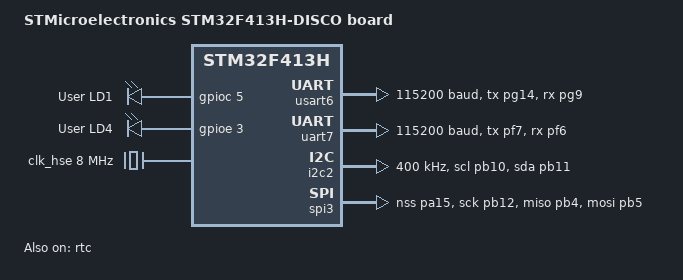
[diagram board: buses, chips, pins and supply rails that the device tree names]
/*
 * Copyright (c) 2024 STMicroelectronics
 *
 * SPDX-License-Identifier: Apache-2.0
 */

/dts-v1/;
#include <st/f4/stm32f413Xh.dtsi>
#include <st/f4/stm32f413z(g-h)tx-pinctrl.dtsi>
#include "arduino_r3_connector.dtsi"
#include <zephyr/dt-bindings/input/input-event-codes.h>

/ {
	model = "STMicroelectronics STM32F413H-DISCO board";
	compatible = "st,stm32f413h-disco";

	chosen {
		zephyr,console = &usart6;
		zephyr,shell-uart = &usart6;
		zephyr,sram = &sram0;
		zephyr,flash = &flash0;
	};

	leds {
		compatible = "gpio-leds";

		green_led_1: led_1 {
			gpios = <&gpioc 5 GPIO_ACTIVE_HIGH>;
			label = "User LD1";
		};

		red_led_2: led_2 {
			gpios = <&gpioe 3 GPIO_ACTIVE_HIGH>;
			label = "User LD4";
		};
	};

	aliases {
		led0 = &green_led_1;
		led1 = &red_led_2;

	};
};

&clk_lsi {
	status = "okay";
};

&clk_hse {
	hse-bypass;
	clock-frequency = <DT_FREQ_M(8)>; /* STLink 8MHz clock */
	status = "okay";
};

&pll {
	div-m = <4>;
	mul-n = <100>;
	div-p = <2>;
	div-q = <8>;
	clocks = <&clk_hse>;
	status = "okay";
};

&rcc {
	clocks = <&pll>;
	clock-frequency = <DT_FREQ_M(100)>;
	ahb-prescaler = <1>;
	apb1-prescaler = <2>;
	apb2-prescaler = <1>;
};

&usart6 {
	pinctrl-0 = <&usart6_tx_pg14 &usart6_rx_pg9>;
	pinctrl-names = "default";
	current-speed = <115200>;
	status = "okay";
};

&uart7 {
	pinctrl-0 = <&uart7_tx_pf7 &uart7_rx_pf6>;
	pinctrl-names = "default";
	current-speed = <115200>;
	status = "okay";
};

&i2c2 {
	pinctrl-0 = <&i2c2_scl_pb10 &i2c2_sda_pb11>;
	pinctrl-names = "default";
	clock-frequency = <I2C_BITRATE_FAST>;
	status = "okay";
};

&spi3 {
	pinctrl-0 = <&spi3_nss_pa15 &spi3_sck_pb12
		     &spi3_miso_pb4 &spi3_mosi_pb5>;
	pinctrl-names = "default";
	status = "okay";
};

&rtc {
	clocks = <&rcc STM32_CLOCK(APB1, 28)>,
		 <&rcc STM32_SRC_LSI RTC_SEL(2)>;
	status = "okay";
};
